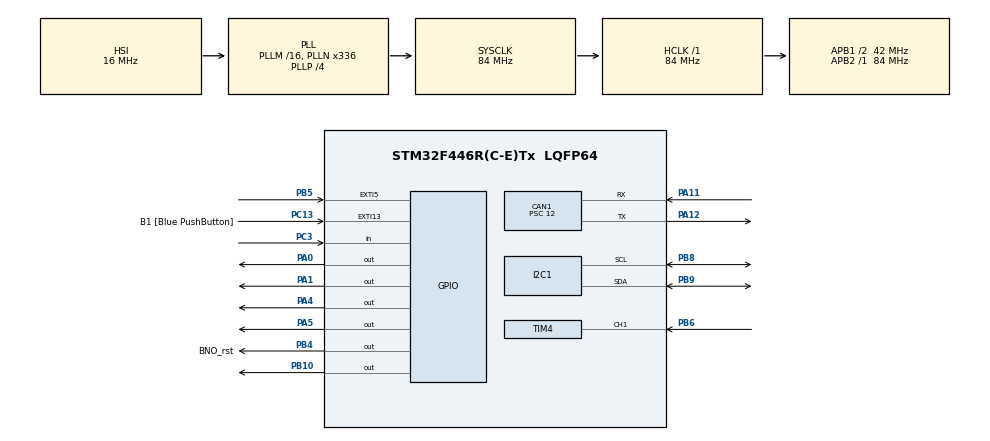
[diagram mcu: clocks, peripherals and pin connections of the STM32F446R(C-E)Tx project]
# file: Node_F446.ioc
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CAN1.ABOM=ENABLE
CAN1.BS1=CAN_BS1_11TQ
CAN1.BS2=CAN_BS2_2TQ
CAN1.CalculateBaudRate=250000
CAN1.CalculateTimeBit=4000
CAN1.CalculateTimeQuantum=285.7142857142857
CAN1.NART=ENABLE
CAN1.Prescaler=12
Mcu.Family=STM32F4
Mcu.Name=STM32F446R(C-E)Tx
Mcu.Package=LQFP64
NUCLEO-F446RE.LD1=true
NVIC.CAN1_RX0_IRQn=true\:0\:0\:false\:false\:true\:true\:true\:true
NVIC.CAN1_SCE_IRQn=true\:0\:0\:false\:false\:true\:true\:true\:true
NVIC.EXTI9_5_IRQn=true\:0\:0\:false\:false\:true\:true\:true\:true
NVIC.PriorityGroup=NVIC_PRIORITYGROUP_0
NVIC.TIM4_IRQn=true\:0\:0\:false\:false\:true\:true\:true\:true
PA0-WKUP.Signal=GPIO_Output
PA1.Signal=GPIO_Output
PA11.Mode=CAN_Activate
PA11.Signal=CAN1_RX
PA12.Mode=CAN_Activate
PA12.Signal=CAN1_TX
PA13.GPIO_Label=TMS
PA13.Signal=SYS_JTMS-SWDIO
PA14.GPIO_Label=TCK
PA14.Signal=SYS_JTCK-SWCLK
PA2.GPIO_Label=USART_TX
PA2.Signal=USART2_TX
PA3.GPIO_Label=USART_RX
PA3.Signal=USART2_RX
PA4.Signal=GPIO_Output
PA5.Signal=GPIO_Output
PB10.Signal=GPIO_Output
PB3.GPIO_Label=SWO
PB3.Signal=SYS_JTDO-SWO
PB4.GPIO_Label=BNO_rst
PB4.PinState=GPIO_PIN_SET
PB4.Signal=GPIO_Output
PB5.GPIO_ModeDefaultEXTI=GPIO_MODE_IT_FALLING
PB5.GPIO_PuPd=GPIO_PULLUP
PB5.Signal=GPXTI5
PB6.Signal=S_TIM4_CH1
PB8.GPIO_Pu=GPIO_PULLUP
PB8.Mode=I2C
PB8.Signal=I2C1_SCL
PB9.GPIO_Pu=GPIO_PULLUP
PB9.Mode=I2C
PB9.Signal=I2C1_SDA
PC13.GPIO_Label=B1 [Blue PushButton]
PC13.GPIO_ModeDefaultEXTI=GPIO_MODE_IT_FALLING
PC13.Signal=GPXTI13
PC14-OSC32_IN.Signal=RCC_OSC32_IN
PC15-OSC32_OUT.Signal=RCC_OSC32_OUT
PC3.GPIO_PuPd=GPIO_NOPULL
PC3.Signal=GPIO_Input
PH0-OSC_IN.Signal=RCC_OSC_IN
PH1-OSC_OUT.Signal=RCC_OSC_OUT
ProjectManager.HeapSize=0x200
ProjectManager.StackSize=0x400
ProjectManager.TargetToolchain=STM32CubeIDE
RCC.AHBFreq_Value=84000000
RCC.APB1CLKDivider=RCC_HCLK_DIV2
RCC.APB1Freq_Value=42000000
RCC.APB1TimFreq_Value=84000000
RCC.APB2Freq_Value=84000000
RCC.APB2TimFreq_Value=84000000
RCC.CortexFreq_Value=84000000
RCC.FLatency-AdvancedSettings=FLASH_LATENCY_2
RCC.HCLKFreq_Value=84000000
RCC.HSE_VALUE=8000000
RCC.HSI_VALUE=16000000
RCC.LSE_VALUE=32768
RCC.PLLN=336
RCC.PLLP=RCC_PLLP_DIV4
RCC.SYSCLKFreq_VALUE=84000000
RCC.SYSCLKSource=RCC_SYSCLKSOURCE_PLLCLK
RCC.USBFreq_Value=168000000
RCC.VCOOutputFreq_Value=336000000
SH.S_TIM4_CH1.0=TIM4_CH1,Input_Capture1_from_TI1
TIM4.Channel-Input_Capture1_from_TI1=TIM_CHANNEL_1
TIM4.Prescaler=83
VP_NUCLEO-F446RE_VS_BSP_COMMON.Mode=COMMON
board=NUCLEO-F446RE

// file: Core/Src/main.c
/* USER CODE BEGIN Header */
/**
  ******************************************************************************
  * @file           : main.c
  * @brief          : F446RE CAN1 250 kbps + BNO085 IMU + HC-SR04 + LED + Switch
  ******************************************************************************
  */
/* USER CODE END Header */
#include "main.h"
#include "can.h"
#include "i2c.h"
#include "tim.h"
#include "gpio.h"

/* USER CODE BEGIN Includes */
#include <string.h>

/* USER CODE END Includes */

/* USER CODE BEGIN PD */

#define H723_REQUEST_ID      0x201U
#define F446_RESPONSE_ID     0x281U
#define IMU_DATA_ID          0x301U
#define LEFT_LED_CMD_ID      0x320U
#define RIGHT_LED_CMD_ID     0x321U
#define BRAKE_LED_CMD_ID     0x322U
#define SWITCH_STATUS_ID     0x311U   /* F446 -> H723: 토글스위치 상태 */
#define ULTRASONIC_ID        0x312U   /* F446 -> H723: 초음파 거리(mm) */

#define CAN_PAYLOAD_LENGTH   8U
#define BNO085_ADDR          (0x4A << 1)

#ifndef BNO_RST_Pin
#define BNO_RST_Pin         GPIO_PIN_4
#define BNO_RST_GPIO_Port   GPIOB
#endif

#ifndef BNO_INT_Pin
#define BNO_INT_Pin         GPIO_PIN_5
#define BNO_INT_GPIO_Port   GPIOB
#endif

#ifndef LEFT_LED_Pin
#define LEFT_LED_Pin        GPIO_PIN_0
#define LEFT_LED_GPIO_Port  GPIOA
#endif

#ifndef RIGHT_LED_Pin
#define RIGHT_LED_Pin       GPIO_PIN_1
#define RIGHT_LED_GPIO_Port GPIOA
#endif

#ifndef BRAKE_LED_Pin
#define BRAKE_LED_Pin       GPIO_PIN_4
#define BRAKE_LED_GPIO_Port GPIOA
#endif

#ifndef SWITCH_INPUT_Pin
#define SWITCH_INPUT_Pin        GPIO_PIN_3
#define SWITCH_INPUT_GPIO_Port  GPIOC
#endif

#ifndef US_TRIG_Pin
#define US_TRIG_Pin         GPIO_PIN_10
#define US_TRIG_GPIO_Port   GPIOB
#endif

#define ULTRASONIC_PERIOD_MS    60U    /* 초음파 측정 주기 (음속 왕복 여유 포함) */
#define SWITCH_TX_PERIOD_MS     100U   /* 스위치 상태 전송 주기 */
#define LAMP_COMMAND_TIMEOUT_MS  500U

/* USER CODE END PD */

/* USER CODE BEGIN PV */

static CAN_RxHeaderTypeDef RxHeader;
static CAN_TxHeaderTypeDef TxHeader;
static CAN_TxHeaderTypeDef ImuTxHeader;
static CAN_TxHeaderTypeDef SwitchTxHeader;
static CAN_TxHeaderTypeDef UltrasonicTxHeader;

static uint8_t RxData[8];
static uint8_t TxData[8];
static uint8_t ImuTxData[8];
static uint8_t SwitchTxData[8];
static uint8_t UltrasonicTxData[8];

static uint8_t bno_seq_ctrl = 0;
static uint32_t imu_last_tick = 0;

/* LED 명령 상태 (H723로부터 수신) */
volatile uint8_t led_left_cmd = 0;
volatile uint8_t led_right_cmd = 0;
volatile uint8_t led_brake_cmd = 0;
static uint32_t led_left_last_rx_tick = 0U;
static uint32_t led_right_last_rx_tick = 0U;
static uint32_t led_brake_last_rx_tick = 0U;

/* 스위치 */
static uint32_t switch_last_tick = 0;
volatile uint8_t switch_pressed = 0;   /* 1=눌림, 0=안눌림 */

/* HC-SR04 */
static uint32_t ultrasonic_last_tick = 0;
volatile uint32_t ultrasonic_distance_mm = 0;
volatile uint8_t  ultrasonic_echo_captured = 0;
static volatile uint32_t echo_rise_tick = 0;
static volatile uint8_t  echo_state = 0;   /* 0=idle, 1=waiting falling */

/* Live Expressions용 진단 변수 */
volatile uint32_t can250_rx_count = 0;
volatile uint32_t can250_rx_ok_count = 0;
volatile uint32_t can250_rx_bad_count = 0;
volatile uint32_t can250_tx_count = 0;
volatile uint32_t can250_tx_busy_count = 0;
volatile uint32_t can250_tx_error_count = 0;
volatile uint32_t can250_last_error = 0;
volatile uint32_t can250_last_received_counter = 0;

volatile uint32_t imu_tx_count = 0;
volatile uint32_t imu_tx_error_count = 0;
volatile HAL_StatusTypeDef imu_i2c_ready_status;
volatile HAL_StatusTypeDef imu_enable_status;

volatile uint16_t dbg_last_len = 0;
volatile uint8_t  dbg_last_channel = 0xFF;
volatile uint8_t  dbg_last_reportid = 0xFF;
volatile uint32_t dbg_poll_count = 0;
volatile uint32_t dbg_zero_len_count = 0;
volatile uint32_t dbg_match_count = 0;
volatile uint32_t dbg_int_wait_timeout_count = 0;

volatile uint32_t led_cmd_rx_count = 0;
volatile uint32_t switch_tx_count = 0;
volatile uint32_t ultrasonic_tx_count = 0;

/* USER CODE END PV */

void SystemClock_Config(void);
/* USER CODE BEGIN PFP */

static void CAN250_Start(void);
static uint32_t ReadU32LE(const uint8_t *data);

static void BNO_GPIO_Init(void);
static void BNO_HardwareReset(void);
static uint8_t BNO_WaitForInt(uint32_t timeout_ms);

static uint16_t BNO_ReadPacket(uint8_t *buf, uint16_t maxlen);
static void BNO_EnableRotationVector(void);
static void IMU_Init(void);
static void IMU_PollAndSend(void);

static void LED_Apply(uint8_t left, uint8_t right, uint8_t brake);
static void LED_TurnSignalUpdate(void);

static void Switch_PollAndSend(void);

static void Ultrasonic_Trigger(void);
static void Ultrasonic_PollAndSend(void);

/* USER CODE END PFP */

/* USER CODE BEGIN 0 */

static uint32_t ReadU32LE(const uint8_t *data)
{
  return ((uint32_t)data[0]) |
         ((uint32_t)data[1] << 8) |
         ((uint32_t)data[2] << 16) |
         ((uint32_t)data[3] << 24);
}

static void CAN250_Start(void)
{
  CAN_FilterTypeDef sFilterConfig = {0};

  /*
   * 0x201(에코 요청), 0x310(LED 명령) 둘 다 받아야 하니까
   * Mask 필터로 넓게 걸어서 0x200~0x3FF 대역을 전부 FIFO0으로 받고
   * 콜백에서 StdId로 구분한다.
   */
  sFilterConfig.FilterBank = 0;
  sFilterConfig.FilterMode = CAN_FILTERMODE_IDMASK;
  sFilterConfig.FilterScale = CAN_FILTERSCALE_32BIT;
  sFilterConfig.FilterIdHigh = 0x0000U;
  sFilterConfig.FilterIdLow = 0x0000U;
  sFilterConfig.FilterMaskIdHigh = 0x0000U;
  sFilterConfig.FilterMaskIdLow = 0x0000U;
  sFilterConfig.FilterFIFOAssignment = CAN_FILTER_FIFO0;
  sFilterConfig.FilterActivation = ENABLE;
  sFilterConfig.SlaveStartFilterBank = 14;

  if (HAL_CAN_ConfigFilter(&hcan1, &sFilterConfig) != HAL_OK)
  {
    Error_Handler();
  }

  /* F446RE -> H723 에코 응답 */
  TxHeader.StdId = F446_RESPONSE_ID;
  TxHeader.ExtId = 0U;
  TxHeader.IDE = CAN_ID_STD;
  TxHeader.RTR = CAN_RTR_DATA;
  TxHeader.DLC = CAN_PAYLOAD_LENGTH;

  /* F446RE -> H723 IMU 데이터 */
  ImuTxHeader.StdId = IMU_DATA_ID;
  ImuTxHeader.ExtId = 0U;
  ImuTxHeader.IDE = CAN_ID_STD;
  ImuTxHeader.RTR = CAN_RTR_DATA;
  ImuTxHeader.DLC = CAN_PAYLOAD_LENGTH;

  /* F446RE -> H723 스위치 상태 */
  SwitchTxHeader.StdId = SWITCH_STATUS_ID;
  SwitchTxHeader.ExtId = 0U;
  SwitchTxHeader.IDE = CAN_ID_STD;
  SwitchTxHeader.RTR = CAN_RTR_DATA;
  SwitchTxHeader.DLC = CAN_PAYLOAD_LENGTH;

  /* F446RE -> H723 초음파 거리 */
  UltrasonicTxHeader.StdId = ULTRASONIC_ID;
  UltrasonicTxHeader.ExtId = 0U;
  UltrasonicTxHeader.IDE = CAN_ID_STD;
  UltrasonicTxHeader.RTR = CAN_RTR_DATA;
  UltrasonicTxHeader.DLC = CAN_PAYLOAD_LENGTH;

  if (HAL_CAN_Start(&hcan1) != HAL_OK)
  {
    Error_Handler();
  }

  if (HAL_CAN_ActivateNotification(
          &hcan1,
          CAN_IT_RX_FIFO0_MSG_PENDING |
          CAN_IT_ERROR |
          CAN_IT_BUSOFF) != HAL_OK)
  {
    Error_Handler();
  }
}

/* ===================== BNO085 IMU ===================== */

static void BNO_GPIO_Init(void)
{
  GPIO_InitTypeDef GPIO_InitStruct = {0};

  __HAL_RCC_GPIOB_CLK_ENABLE();

  HAL_GPIO_WritePin(BNO_RST_GPIO_Port, BNO_RST_Pin, GPIO_PIN_SET);
  GPIO_InitStruct.Pin = BNO_RST_Pin;
  GPIO_InitStruct.Mode = GPIO_MODE_OUTPUT_PP;
  GPIO_InitStruct.Pull = GPIO_NOPULL;
  GPIO_InitStruct.Speed = GPIO_SPEED_FREQ_LOW;
  HAL_GPIO_Init(BNO_RST_GPIO_Port, &GPIO_InitStruct);

  /* INT는 CubeMX에서 EXTI로 이미 설정됨 (MX_GPIO_Init에서 처리) */
}

static void BNO_HardwareReset(void)
{
  HAL_GPIO_WritePin(BNO_RST_GPIO_Port, BNO_RST_Pin, GPIO_PIN_RESET);
  HAL_Delay(10);
  HAL_GPIO_WritePin(BNO_RST_GPIO_Port, BNO_RST_Pin, GPIO_PIN_SET);
  HAL_Delay(300);
}

static uint8_t BNO_WaitForInt(uint32_t timeout_ms)
{
  uint32_t start = HAL_GetTick();
  while (HAL_GPIO_ReadPin(BNO_INT_GPIO_Port, BNO_INT_Pin) == GPIO_PIN_SET)
  {
    if ((HAL_GetTick() - start) > timeout_ms)
    {
      dbg_int_wait_timeout_count++;
      return 0;
    }
  }
  return 1;
}

static uint16_t BNO_ReadPacket(uint8_t *buf, uint16_t maxlen)
{
  if (HAL_I2C_Master_Receive(&hi2c1, BNO085_ADDR, buf, maxlen, 50) != HAL_OK)
    return 0;

  uint16_t len = ((buf[1] & 0x7F) << 8) | buf[0];
  if (len == 0) return 0;

  return (len > maxlen) ? maxlen : len;
}

static void BNO_EnableRotationVector(void)
{
  uint8_t pkt[21] = {0};
  uint16_t len = 21;

  pkt[0] = len & 0xFF;
  pkt[1] = (len >> 8) & 0x7F;
  pkt[2] = 2;
  pkt[3] = bno_seq_ctrl++;

  pkt[4] = 0xFD;
  pkt[5] = 0x05;
  pkt[6] = 0;
  pkt[7] = 0; pkt[8] = 0;
  pkt[9]  = 0x20; pkt[10] = 0x4E; pkt[11] = 0x00; pkt[12] = 0x00;

  imu_enable_status = HAL_I2C_Master_Transmit(&hi2c1, BNO085_ADDR, pkt, len, 100);
}

static void IMU_Init(void)
{
  uint8_t dump[32];

  BNO_GPIO_Init();
  BNO_HardwareReset();

  imu_i2c_ready_status = HAL_I2C_IsDeviceReady(&hi2c1, BNO085_ADDR, 3, 100);
  if (imu_i2c_ready_status != HAL_OK) return;

  for (int i = 0; i < 30; i++)
  {
    if (BNO_WaitForInt(50))
    {
      BNO_ReadPacket(dump, sizeof(dump));
    }
    HAL_Delay(5);
  }

  BNO_EnableRotationVector();
  HAL_Delay(100);
}

static void IMU_PollAndSend(void)
{
  uint8_t rx[32];
  uint32_t txMailbox;

  if (HAL_GPIO_ReadPin(BNO_INT_GPIO_Port, BNO_INT_Pin) == GPIO_PIN_SET)
  {
    return;
  }

  uint16_t len = BNO_ReadPacket(rx, sizeof(rx));

  dbg_poll_count++;
  dbg_last_len = len;

  if (len == 0)
  {
    dbg_zero_len_count++;
    return;
  }

  dbg_last_channel = rx[2];

  if (len >= 22 && rx[2] == 3 && rx[4] == 0xFB && rx[9] == 0x05)
  {
    dbg_last_reportid = rx[9];
    dbg_match_count++;

    /*
     * BNO08x SHTP 입력 리포트 배치 (채널 3)
     *   rx[0..3]   SHTP 헤더 (len L/H, channel, seq)
     *   rx[4]      0xFB  base timestamp reference
     *   rx[5..8]   timestamp delta (u32)
     *   rx[9]      Report ID (0x05 = Rotation Vector)
     *   rx[10]     Sequence
     *   rx[11]     Status
     *   rx[12]     Delay
     *   rx[13..14] quat_i    (int16 LE)   ← 쿼터니언 시작
     *   rx[15..16] quat_j
     *   rx[17..18] quat_k
     *   rx[19..20] quat_real
     *   rx[21..22] Accuracy
     *
     * 이전 코드는 rx[14..21] 을 실어 1바이트 밀려 있었다.
     * 각 int16 이 "앞 성분 상위바이트 + 뒤 성분 하위바이트"로 조합되어
     * 값이 요동쳤다.
     */
    ImuTxData[0] = rx[13]; ImuTxData[1] = rx[14];   /* quat_i    */
    ImuTxData[2] = rx[15]; ImuTxData[3] = rx[16];   /* quat_j    */
    ImuTxData[4] = rx[17]; ImuTxData[5] = rx[18];   /* quat_k    */
    ImuTxData[6] = rx[19]; ImuTxData[7] = rx[20];   /* quat_real */

    if (HAL_CAN_GetTxMailboxesFreeLevel(&hcan1) == 0U) return;

    if (HAL_CAN_AddTxMessage(&hcan1, &ImuTxHeader, ImuTxData, &txMailbox) == HAL_OK)
      imu_tx_count++;
    else
      imu_tx_error_count++;
  }
}

/* ===================== LED (좌/우 방향지시등 + 브레이크등) ===================== */

/*
 * Rear H723에서 분리된 CAN ID(0x320/0x321/0x322)를 수신한다.
 * Front에 실제 적용된 좌/우 LED 상태를 그대로 미러링하며,
 * Rear F446RE에서는 별도의 점멸 위상을 만들지 않는다.
 */
static void LED_Apply(uint8_t left_on, uint8_t right_on, uint8_t brake_on)
{
  HAL_GPIO_WritePin(LEFT_LED_GPIO_Port, LEFT_LED_Pin, left_on ? GPIO_PIN_SET : GPIO_PIN_RESET);
  HAL_GPIO_WritePin(RIGHT_LED_GPIO_Port, RIGHT_LED_Pin, right_on ? GPIO_PIN_SET : GPIO_PIN_RESET);
  HAL_GPIO_WritePin(BRAKE_LED_GPIO_Port, BRAKE_LED_Pin, brake_on ? GPIO_PIN_SET : GPIO_PIN_RESET);
}

static void LED_TurnSignalUpdate(void)
{
  uint32_t now = HAL_GetTick();

  if ((uint32_t)(now - led_left_last_rx_tick) > LAMP_COMMAND_TIMEOUT_MS)
  {
    led_left_cmd = 0U;
  }
  if ((uint32_t)(now - led_right_last_rx_tick) > LAMP_COMMAND_TIMEOUT_MS)
  {
    led_right_cmd = 0U;
  }
  if ((uint32_t)(now - led_brake_last_rx_tick) > LAMP_COMMAND_TIMEOUT_MS)
  {
    led_brake_cmd = 0U;
  }

  /* Front PE7/PE8 states are mirrored directly; no independent rear blink phase. */
  LED_Apply(led_left_cmd, led_right_cmd, led_brake_cmd);
}

/* ===================== 토글 스위치 ===================== */

static void Switch_PollAndSend(void)
{
  uint32_t now = HAL_GetTick();
  uint32_t txMailbox;

  /* SWITCH_INPUT_Pin: Pull-up 설정이므로 안 눌렸을 때 High, 눌리면 Low */
  switch_pressed = (HAL_GPIO_ReadPin(SWITCH_INPUT_GPIO_Port, SWITCH_INPUT_Pin) == GPIO_PIN_RESET) ? 1U : 0U;

  if ((now - switch_last_tick) < SWITCH_TX_PERIOD_MS) return;
  switch_last_tick = now;

  memset(SwitchTxData, 0, sizeof(SwitchTxData));
  SwitchTxData[0] = switch_pressed;

  if (HAL_CAN_GetTxMailboxesFreeLevel(&hcan1) == 0U) return;

  if (HAL_CAN_AddTxMessage(&hcan1, &SwitchTxHeader, SwitchTxData, &txMailbox) == HAL_OK)
  {
    switch_tx_count++;
  }
}

/* ===================== HC-SR04 초음파 ===================== */

static void Ultrasonic_Trigger(void)
{
  HAL_GPIO_WritePin(US_TRIG_GPIO_Port, US_TRIG_Pin, GPIO_PIN_RESET);
  /* 짧은 정지 후 10us 펄스 */
  for (volatile int i = 0; i < 5; i++) { __NOP(); }
  HAL_GPIO_WritePin(US_TRIG_GPIO_Port, US_TRIG_Pin, GPIO_PIN_SET);
  for (volatile int i = 0; i < 170; i++) { __NOP(); }  /* 대략 10us @ 84MHz core */
  HAL_GPIO_WritePin(US_TRIG_GPIO_Port, US_TRIG_Pin, GPIO_PIN_RESET);

  echo_state = 0;
  ultrasonic_echo_captured = 0;

  /* TIM4 Input Capture 인터럽트 시작 (main에서 이미 HAL_TIM_IC_Start_IT 했다면 재호출 불필요) */
}

static void Ultrasonic_PollAndSend(void)
{
  uint32_t now = HAL_GetTick();
  uint32_t txMailbox;

  if ((now - ultrasonic_last_tick) < ULTRASONIC_PERIOD_MS) return;
  ultrasonic_last_tick = now;

  Ultrasonic_Trigger();

  /* 이전 측정 결과를 CAN으로 송신 (측정은 인터럽트 콜백에서 비동기 갱신됨) */
  memset(UltrasonicTxData, 0, sizeof(UltrasonicTxData));
  UltrasonicTxData[0] = (uint8_t)(ultrasonic_distance_mm & 0xFF);
  UltrasonicTxData[1] = (uint8_t)((ultrasonic_distance_mm >> 8) & 0xFF);

  if (HAL_CAN_GetTxMailboxesFreeLevel(&hcan1) == 0U) return;

  if (HAL_CAN_AddTxMessage(&hcan1, &UltrasonicTxHeader, UltrasonicTxData, &txMailbox) == HAL_OK)
  {
    ultrasonic_tx_count++;
  }
}

/**
 * @brief TIM4 Input Capture 콜백 - HC-SR04 ECHO 펄스 폭 측정
 *        Rising Edge에서 시작 tick 저장 -> Falling Edge로 극성 전환 -> 폭 계산
 */
void HAL_TIM_IC_CaptureCallback(TIM_HandleTypeDef *htim)
{
  if (htim->Instance == TIM4)
  {
    uint32_t captured = HAL_TIM_ReadCapturedValue(htim, TIM_CHANNEL_1);

    if (echo_state == 0)
    {
      /* Rising Edge 캡처됨 -> Falling Edge로 극성 전환 */
      echo_rise_tick = captured;
      echo_state = 1;
      __HAL_TIM_SET_CAPTUREPOLARITY(htim, TIM_CHANNEL_1, TIM_INPUTCHANNELPOLARITY_FALLING);
    }
    else
    {
      /* Falling Edge 캡처됨 -> 펄스 폭(us) 계산, 34.3cm/ms 왕복 기준 mm 환산 */
      uint32_t pulse_us;
      if (captured >= echo_rise_tick)
      {
        pulse_us = captured - echo_rise_tick;
      }
      else
      {
        /* 타이머 오버플로우(65535) 발생 시 */
        pulse_us = (65535U - echo_rise_tick) + captured;
      }

      /* distance(mm) = pulse_us * 0.343 / 2  (음속 343m/s = 0.343mm/us) */
      ultrasonic_distance_mm = (uint32_t)((pulse_us * 343UL) / 2000UL);
      ultrasonic_echo_captured = 1;

      /* 다음 측정을 위해 다시 Rising Edge로 되돌림 */
      echo_state = 0;
      __HAL_TIM_SET_CAPTUREPOLARITY(htim, TIM_CHANNEL_1, TIM_INPUTCHANNELPOLARITY_RISING);
    }
  }
}

/* USER CODE END 0 */

int main(void)
{

  HAL_Init();

  SystemClock_Config();

  MX_GPIO_Init();
  MX_CAN1_Init();
  MX_I2C1_Init();
  MX_TIM4_Init();
  /* USER CODE BEGIN 2 */

  CAN250_Start();
  IMU_Init();

  HAL_TIM_IC_Start_IT(&htim4, TIM_CHANNEL_1);

  imu_last_tick = HAL_GetTick();
  led_left_last_rx_tick = HAL_GetTick();
  led_right_last_rx_tick = HAL_GetTick();
  led_brake_last_rx_tick = HAL_GetTick();
  switch_last_tick = HAL_GetTick();
  ultrasonic_last_tick = HAL_GetTick();

  /* USER CODE END 2 */

  /* USER CODE BEGIN WHILE */
  while (1)
  {
    uint32_t now = HAL_GetTick();

    if ((now - imu_last_tick) >= 20U)
    {
      imu_last_tick = now;
      IMU_PollAndSend();
    }

    LED_TurnSignalUpdate();
    Switch_PollAndSend();
    Ultrasonic_PollAndSend();

    /* USER CODE END WHILE */

  }
}

void SystemClock_Config(void)
{
  RCC_OscInitTypeDef RCC_OscInitStruct = {0};
  RCC_ClkInitTypeDef RCC_ClkInitStruct = {0};

  __HAL_RCC_PWR_CLK_ENABLE();
  __HAL_PWR_VOLTAGESCALING_CONFIG(PWR_REGULATOR_VOLTAGE_SCALE3);

  RCC_OscInitStruct.OscillatorType = RCC_OSCILLATORTYPE_HSI;
  RCC_OscInitStruct.HSIState = RCC_HSI_ON;
  RCC_OscInitStruct.HSICalibrationValue = RCC_HSICALIBRATION_DEFAULT;
  RCC_OscInitStruct.PLL.PLLState = RCC_PLL_ON;
  RCC_OscInitStruct.PLL.PLLSource = RCC_PLLSOURCE_HSI;
  RCC_OscInitStruct.PLL.PLLM = 16;
  RCC_OscInitStruct.PLL.PLLN = 336;
  RCC_OscInitStruct.PLL.PLLP = RCC_PLLP_DIV4;
  RCC_OscInitStruct.PLL.PLLQ = 2;
  RCC_OscInitStruct.PLL.PLLR = 2;
  if (HAL_RCC_OscConfig(&RCC_OscInitStruct) != HAL_OK)
  {
    Error_Handler();
  }

  RCC_ClkInitStruct.ClockType = RCC_CLOCKTYPE_HCLK|RCC_CLOCKTYPE_SYSCLK
                              |RCC_CLOCKTYPE_PCLK1|RCC_CLOCKTYPE_PCLK2;
  RCC_ClkInitStruct.SYSCLKSource = RCC_SYSCLKSOURCE_PLLCLK;
  RCC_ClkInitStruct.AHBCLKDivider = RCC_SYSCLK_DIV1;
  RCC_ClkInitStruct.APB1CLKDivider = RCC_HCLK_DIV2;
  RCC_ClkInitStruct.APB2CLKDivider = RCC_HCLK_DIV1;

  if (HAL_RCC_ClockConfig(&RCC_ClkInitStruct, FLASH_LATENCY_2) != HAL_OK)
  {
    Error_Handler();
  }
}

/* USER CODE BEGIN 4 */

/**
  * @brief CAN1 RX FIFO0 message pending callback
  */
void HAL_CAN_RxFifo0MsgPendingCallback(CAN_HandleTypeDef *hcan)
{
  uint32_t txMailbox;
  uint32_t i;

  if (hcan->Instance != CAN1)
  {
    return;
  }

  if (HAL_CAN_GetRxMessage(hcan, CAN_RX_FIFO0, &RxHeader, RxData) != HAL_OK)
  {
    can250_rx_bad_count++;
    can250_last_error = HAL_CAN_GetError(hcan);
    return;
  }

  can250_rx_count++;

  if (RxHeader.IDE != CAN_ID_STD)
  {
    can250_rx_bad_count++;
    return;
  }

  /* ===== Rear lamp commands: one signal per CAN ID ===== */
  if ((RxHeader.StdId == LEFT_LED_CMD_ID) && (RxHeader.DLC == 1U))
  {
    led_left_cmd = (RxData[0] != 0U) ? 1U : 0U;
    led_left_last_rx_tick = HAL_GetTick();
    led_cmd_rx_count++;
    return;
  }
  if ((RxHeader.StdId == RIGHT_LED_CMD_ID) && (RxHeader.DLC == 1U))
  {
    led_right_cmd = (RxData[0] != 0U) ? 1U : 0U;
    led_right_last_rx_tick = HAL_GetTick();
    led_cmd_rx_count++;
    return;
  }
  if ((RxHeader.StdId == BRAKE_LED_CMD_ID) && (RxHeader.DLC == 1U))
  {
    led_brake_cmd = (RxData[0] != 0U) ? 1U : 0U;
    led_brake_last_rx_tick = HAL_GetTick();
    led_cmd_rx_count++;
    return;
  }

  /* ===== 기존 에코 요청 (0x201) ===== */
  if ((RxHeader.RTR != CAN_RTR_DATA) ||
      (RxHeader.StdId != H723_REQUEST_ID) ||
      (RxHeader.DLC != CAN_PAYLOAD_LENGTH) ||
      (RxData[0] != 0xA5U) ||
      (RxData[1] != 0x5AU) ||
      (RxData[2] != 0x02U) ||
      (RxData[3] != 0x01U))
  {
    can250_rx_bad_count++;
    return;
  }

  can250_rx_ok_count++;
  can250_last_received_counter = ReadU32LE(&RxData[4]);

  for (i = 0U; i < CAN_PAYLOAD_LENGTH; i++)
  {
    TxData[i] = RxData[i];
  }

  TxData[0] = 0x5AU;
  TxData[1] = 0xA5U;
  TxData[2] = 0x02U;
  TxData[3] = 0x02U;

  if (HAL_CAN_GetTxMailboxesFreeLevel(hcan) == 0U)
  {
    can250_tx_busy_count++;
    return;
  }

  if (HAL_CAN_AddTxMessage(hcan, &TxHeader, TxData, &txMailbox) == HAL_OK)
  {
    can250_tx_count++;
    HAL_GPIO_TogglePin(LED2_GPIO_PORT, LED2_PIN);
  }
  else
  {
    can250_tx_error_count++;
    can250_last_error = HAL_CAN_GetError(hcan);
  }
}

void HAL_CAN_ErrorCallback(CAN_HandleTypeDef *hcan)
{
  if (hcan->Instance == CAN1)
  {
    can250_last_error = HAL_CAN_GetError(hcan);
  }
}

/* USER CODE END 4 */

void Error_Handler(void)
{
  __disable_irq();
  while (1)
  {
  }
}
